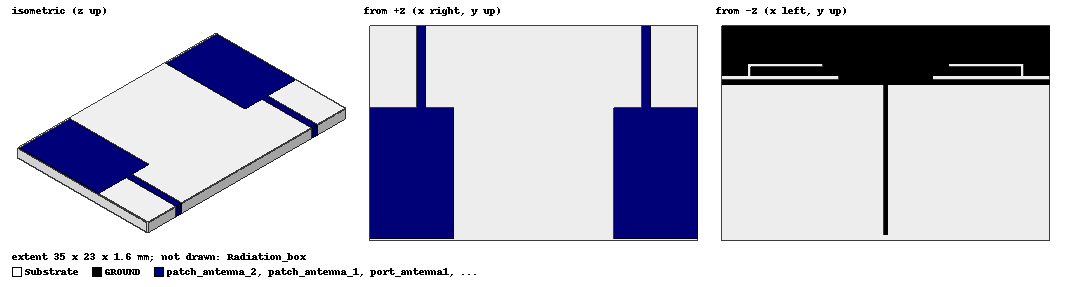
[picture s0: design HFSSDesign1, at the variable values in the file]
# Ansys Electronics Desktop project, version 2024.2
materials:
  vacuum: permittivity=1
  FR4_epoxy: permittivity=4.4 dielectric_loss_tangent=0.02

design HFSSDesign1 (HFSS, HFSS Terminal Network, model units mm)
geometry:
  feed_antenna_1 = rectangle(corner=(30mm, 0mm, 0mm), x_size=-1mm, y_size=-8.8mm)
  feed_antenna_2 = rectangle(corner=(5mm, -8.8mm, 0mm), x_size=1mm, y_size=8.8mm)
  patch_antenna_2 = rectangle(corner=(9mm, -8.8mm, 0mm), x_size=-9mm, y_size=-14mm)
  patch_antenna_1 = rectangle(corner=(26mm, -8.8mm, 0mm), x_size=9mm, y_size=-14mm)
  patch_antenna_2.unite(feed_antenna_2)
  patch_antenna_1.unite(feed_antenna_1)
  GROUND = polyline(z=-1.6mm, xy in mm: (0, 0) (0, -6.3) (17.25, -6.3) (17.25, -22.3) (17.75, -22.3) (17.75, -6.3) (35, -6.3) (35, 0) (0, 0), closed, covered)
  Rectangle8 = rectangle(corner=(35mm, -5.8mm, -1.6mm), x_size=-12.5mm, y_size=0.4mm)
  Rectangle10 = rectangle(corner=(32.2mm, -5.4mm, -1.6mm), x_size=-0.3mm, y_size=1mm)
  Rectangle11 = rectangle(corner=(32.2mm, -4.4mm, -1.6mm), x_size=-8mm, y_size=0.3mm)
  Rectangle13 = rectangle(corner=(0mm, -5.8mm, -1.6mm), x_size=12.5mm, y_size=0.4mm)
  Rectangle15 = rectangle(corner=(2.8mm, -5.4mm, -1.6mm), x_size=0.3mm, y_size=1mm)
  Rectangle16 = rectangle(corner=(2.8mm, -4.4mm, -1.6mm), x_size=8mm, y_size=0.3mm)
  GROUND.subtract(Rectangle10, Rectangle11, Rectangle13, Rectangle15, Rectangle16, Rectangle8)
  Substrate [FR4_epoxy] = box(corner=(0mm, 0mm, 0mm), size=(35mm, -23mm, -1.6mm))
  port_antenna1 = rectangle(corner=(30mm, 0mm, 0mm), z_size=-1.6mm, x_size=-1mm)
  port_antenna2 = rectangle(corner=(6mm, 0mm, 0mm), z_size=-1.6mm, x_size=-1mm)
  Radiation_box [vacuum] = box(corner=(-20mm, 20mm, -20mm), size=(75mm, -63mm, 40mm))
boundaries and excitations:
  PerfE1: Perfect E Objects=patch_antenna_1
  PerfE2: Perfect E Objects=patch_antenna_2
  PerfE3: Perfect E Objects=GROUND
  Rad1: Radiation Objects=Radiation_box
  port_antenna1_T1: Terminal port=1 Edges=patch_antenna_1.edge(at (29.5, 0, 0)) TerminalResistance=50ohm
  port_antenna2_T1: Terminal port=2 Edges=patch_antenna_2.edge(at (5.5, 0, 0)) TerminalResistance=50ohm
  1: Lumped Port Faces=port_antenna1.face LumpedPortType=Terminal Impedance=50ohm
  2: Lumped Port Faces=port_antenna2.face LumpedPortType=Terminal Impedance=50ohm
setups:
  Setup1: HfssDriven Frequency=7.5GHz MaxDeltaS=0.02 MaximumPasses=20 MinimumPasses=1 MinimumConvergedPasses=1 PercentRefinement=30 BasisOrder=1 PortAccuracy=2 DrivenSolverType="Direct Solver"
    sweep Sweep: 0.1GHz to 15GHz, 1491 points; Type=Fast SaveFields
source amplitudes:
  1:1: 1V 0deg
  2:1: 0V 0deg
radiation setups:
  Infinite Sphere1: Infinite Sphere Theta=0deg..360deg step 10deg Phi=0deg..360deg step 10deg
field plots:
  Mag_E1: E Field over patch_antenna_1.face(at (30.5, -11.4, 0)) patch_antenna_2.face(at (4.5, -11.4, 0)) on Setup1 : LastAdaptive at Freq=7.5GHz Phase=0deg
  Mag_E2: E Field over GROUND.face(at (17.5, -11.15, -1.6)) on Setup1 : LastAdaptive at Freq=7.5GHz Phase=0deg
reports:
  Terminal S Parameter Plot 1: dB(St(port_antenna1_T1,port_antenna1_T1)) vs Freq on Setup1 : Sweep; markers m1 at 3.89GHz, m2 at 5.06GHz, m3 at 5.34GHz, m4 at 6.71GHz, m5 at 8.34GHz, m6 at 9.81GHz, m7 at 10.25GHz, m8 at 10.59GHz
  Terminal S Parameter Plot 2: dB(St(port_antenna2_T1,port_antenna1_T1)) vs Freq on Setup1 : Sweep; markers m2 at 2.67GHz
  Terminal S Parameter Plot 3: dB(St(port_antenna1_T1,port_antenna2_T1)) vs Freq on Setup1 : Sweep; markers m2 at 2.67GHz
  Terminal S Parameter Plot 4: dB(St(port_antenna2_T1,port_antenna2_T1)) vs Freq on Setup1 : Sweep; markers m1 at 3.14GHz, m2 at 3.18GHz, m3 at 3.85GHz, m4 at 5.04GHz, m5 at 5.32GHz, m6 at 6.61GHz, m7 at 8.36GHz, m8 at 10.6GHz, m9 at 14.79GHz
  rE Plot 1: dB(rETotal) vs Theta on Setup1 : LastAdaptive, Infinite Sphere1 [Phi=90deg Freq=7.5GHz]
  rE Plot 2: dB(rETotal) vs Phi, Theta on Setup1 : LastAdaptive, Infinite Sphere1 [Freq=7.5GHz]
  Gain Plot 1: dB(GainTotal) vs Phi, Theta on Setup1 : LastAdaptive, Infinite Sphere1 [Freq=7.5GHz]
  Gain Plot 2: dB(GainTotal) vs Theta, Phi on Setup1 : LastAdaptive, Infinite Sphere1 [Freq=7.5GHz]
  rE Plot 3: dB(rETotal) vs Theta, Phi on Setup1 : LastAdaptive, Infinite Sphere1 [Freq=7.5GHz]
  Gain Plot 3: dB(GainTotal) vs Theta on Setup1 : LastAdaptive, Infinite Sphere1 [Phi=90deg Freq=7.5GHz]
